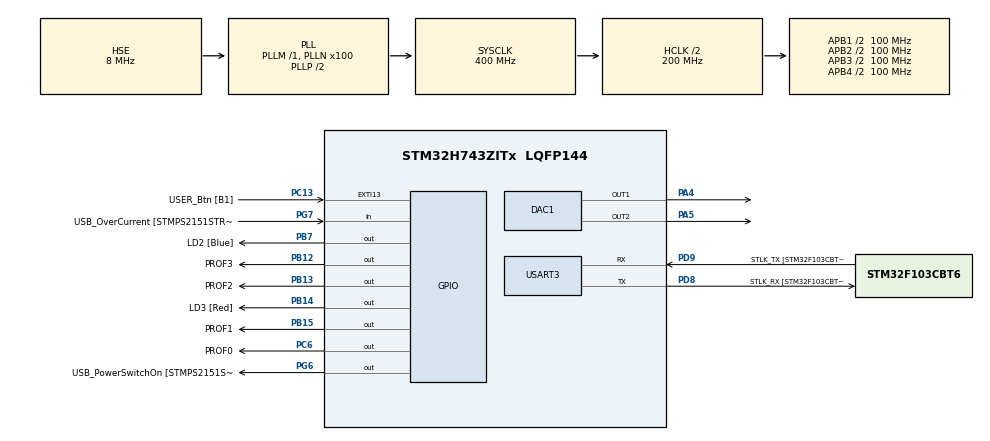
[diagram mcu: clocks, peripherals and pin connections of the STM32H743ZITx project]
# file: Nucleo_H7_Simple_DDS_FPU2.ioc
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ARM.CMSIS.5.6.0.CMSISJjCORE=true
ARM.CMSIS.5.6.0.CMSISJjDSP=Library
CORTEX_M7.CPU_ICache=Enabled
DAC1.DAC_Channel-DAC_OUT2=DAC_CHANNEL_2
DAC1.DAC_Trigger-DAC_OUT1=DAC_TRIGGER_T6_TRGO
DAC1.DAC_Trigger-DAC_OUT2=DAC_TRIGGER_T6_TRGO
Mcu.Family=STM32H7
Mcu.Name=STM32H743ZITx
Mcu.Package=LQFP144
NVIC.PriorityGroup=NVIC_PRIORITYGROUP_4
NVIC.TIM6_DAC_IRQn=true\:0\:0\:false\:false\:true\:true\:true
NVIC.USART3_IRQn=true\:0\:0\:false\:false\:true\:true\:true
PA1.GPIO_Label=RMII_REF_CLK
PA1.Signal=ETH_REF_CLK
PA10.GPIO_Label=USB_ID
PA10.Signal=USB_OTG_FS_ID
PA11.GPIO_Label=USB_DM
PA11.Signal=USB_OTG_FS_DM
PA12.GPIO_Label=USB_DP
PA12.Signal=USB_OTG_FS_DP
PA13\ (JTMS/SWDIO).Mode=Serial_Wire
PA13\ (JTMS/SWDIO).Signal=DEBUG_JTMS-SWDIO
PA14\ (JTCK/SWCLK).Mode=Serial_Wire
PA14\ (JTCK/SWCLK).Signal=DEBUG_JTCK-SWCLK
PA2.GPIO_Label=RMII_MDIO
PA2.Signal=ETH_MDIO
PA4.Signal=COMP_DAC11_group
PA5.Signal=COMP_DAC12_group
PA7.GPIO_Label=RMII_CRS_DV
PA7.Signal=ETH_CRS_DV
PA8.GPIO_Label=USB_SOF [TP1]
PA8.Signal=USB_OTG_FS_SOF
PA9.GPIO_Label=USB_VBUS
PA9.Signal=USB_OTG_FS_VBUS
PB12.GPIO_Label=PROF3
PB12.Signal=GPIO_Output
PB13.GPIO_Label=PROF2
PB13.Signal=GPIO_Output
PB14.GPIO_Label=LD3 [Red]
PB14.Signal=GPIO_Output
PB15.GPIO_Label=PROF1
PB15.Signal=GPIO_Output
PB7.GPIO_Label=LD2 [Blue]
PB7.Signal=GPIO_Output
PC1.GPIO_Label=RMII_MDC
PC1.Signal=ETH_MDC
PC13.GPIO_Label=USER_Btn [B1]
PC13.Signal=GPXTI13
PC14-OSC32_IN\ (OSC32_IN).Mode=LSE-External-Oscillator
PC14-OSC32_IN\ (OSC32_IN).Signal=RCC_OSC32_IN
PC15-OSC32_OUT\ (OSC32_OUT).Mode=LSE-External-Oscillator
PC15-OSC32_OUT\ (OSC32_OUT).Signal=RCC_OSC32_OUT
PC4.GPIO_Label=RMII_RXD0
PC4.Signal=ETH_RXD0
PC5.GPIO_Label=RMII_RXD1
PC5.Signal=ETH_RXD1
PC6.GPIO_Label=PROF0
PC6.Signal=GPIO_Output
PD8.GPIO_Label=STLK_RX [STM32F103CBT6_PA3]
PD8.Mode=Asynchronous
PD8.Signal=USART3_TX
PD9.GPIO_Label=STLK_TX [STM32F103CBT6_PA2]
PD9.Mode=Asynchronous
PD9.Signal=USART3_RX
PG11.GPIO_Label=RMII_TX_EN
PG11.Signal=ETH_TX_EN
PG13.GPIO_Label=RMII_TXD0
PG13.Signal=ETH_TXD0
PG6.GPIO_Label=USB_PowerSwitchOn [STMPS2151STR_EN]
PG6.Signal=GPIO_Output
PG7.GPIO_Label=USB_OverCurrent [STMPS2151STR_FAULT]
PG7.Signal=GPIO_Input
PH0-OSC_IN\ (PH0).GPIO_Label=MCO
PH0-OSC_IN\ (PH0).Mode=HSE-External-Clock-Source
PH0-OSC_IN\ (PH0).Signal=RCC_OSC_IN
PH1-OSC_OUT\ (PH1).Signal=RCC_OSC_OUT
ProjectManager.HeapSize=0x200
ProjectManager.StackSize=0x400
ProjectManager.TargetToolchain=STM32CubeIDE
RCC.48MHZClocksFreq_Value=24000000
RCC.ADCFreq_Value=16125000
RCC.AHBFreq_Value=216000000
RCC.APB1CLKDivider=RCC_HCLK_DIV4
RCC.APB1Freq_Value=100000000
RCC.APB1TimFreq_Value=108000000
RCC.APB2CLKDivider=RCC_HCLK_DIV2
RCC.APB2Freq_Value=100000000
RCC.APB2TimFreq_Value=216000000
RCC.APB3Freq_Value=100000000
RCC.APB4Freq_Value=100000000
RCC.CortexFreq_Value=400000000
RCC.D1PPRE=RCC_APB3_DIV2
RCC.D2PPRE1=RCC_APB1_DIV2
RCC.D2PPRE2=RCC_APB2_DIV2
RCC.D3PPRE=RCC_APB4_DIV2
RCC.DIVM1=1
RCC.DIVN1=100
RCC.DIVQ1=4
RCC.HCLKFreq_Value=200000000
RCC.HPRE=RCC_HCLK_DIV2
RCC.HSE_VALUE=8000000
RCC.HSI_VALUE=64000000
RCC.PLLFRACN=0
RCC.PLLM=25
RCC.PLLMUL=RCC_PLL_MUL9
RCC.PLLN=432
RCC.PLLQ=9
RCC.PLLSourceVirtual=RCC_PLLSOURCE_HSE
RCC.PRESCALERUSB=RCC_USBCLKSOURCE_PLL_DIV1_5
RCC.PWR_Regulator_Voltage_Scale=PWR_REGULATOR_VOLTAGE_SCALE1
RCC.SYSCLKFreq_VALUE=400000000
RCC.SYSCLKSource=RCC_SYSCLKSOURCE_PLLCLK
RCC.SYSCLKSourceVirtual=RCC_SYSCLKSOURCE_PLLCLK
RCC.USBFreq_Value=200000000
RCC.VCOOutputFreq_Value=432000000
SH.COMP_DAC11_group.0=DAC1_OUT1,DAC_OUT1
SH.COMP_DAC12_group.0=DAC1_OUT2,DAC_OUT2
TIM6.Period=199
TIM6.TIM_MasterOutputTrigger=TIM_TRGO_UPDATE
USART3.DMADisableonRxErrorParam=ADVFEATURE_DMA_DISABLEONRXERROR
USART3.OverrunDisableParam=ADVFEATURE_OVERRUN_DISABLE
USART3.VirtualMode-Asynchronous=VM_ASYNC
VP_ARM.CMSIS_VS_CMSISJjCORE_5.3.0.Mode=CMSISJjCORE
VP_ARM.CMSIS_VS_CMSISJjDSP_1.7.0.Mode=CMSISJjDSP
VP_TIM6_VS_ClockSourceINT.Mode=Enable_Timer
board=NUCLEO-H743ZI

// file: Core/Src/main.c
/* USER CODE BEGIN Header */
/**
  *
  *  A simple 2-channel DDS generator:
  *  Each time TIM6 has counted down to zero an event is generated that triggers
  *  the DAC and generates an interrupt.
  *  The interrupt service routine is used for calculating the new values of the
  *  phase registers of both channels, calculates the sines of the phase angles and
  *  stores the results in the dual DAC output register
  *
  *  @author (of non-automatically generated code:) DM1CR 2020
  *
  *
 **/

/**
  ******************************************************************************
  * @file           : main.c
  * @brief          : Main program body
  ******************************************************************************
  * @attention
  *
  * <h2><center>&copy; Copyright (c) 2020 STMicroelectronics.
  * All rights reserved.</center></h2>
  *
  * This software component is licensed by ST under BSD 3-Clause license,
  * the "License"; You may not use this file except in compliance with the
  * License. You may obtain a copy of the License at:
  *                        opensource.org/licenses/BSD-3-Clause
  *
  ******************************************************************************
  */
/* USER CODE END Header */

#include "main.h"
#include "arm_math.h"

/* USER CODE BEGIN Includes */
#include <stdio.h>
#include <stdlib.h>
#include <string.h>
#include <ctype.h>
#include <inttypes.h>
#include <math.h>
/* USER CODE END Includes */

/* USER CODE BEGIN PTD */
typedef struct {
	uint32_t phase;			// Phase Register
	uint32_t phaseInc;      // Phase Increment Register
	uint16_t amplitude;     // Output Amplitude
	uint16_t offset;        // Output Offset
	float*   wavtab;        // Pointer to signed Sine Table or other (signed) Waveform Table
} DDS_typedef;
/* USER CODE END PTD */

/* USER CODE BEGIN PD */
/*
 *  Defs for H7 peripheral clock and DAC
 */
#define APB1_CLOCK 200000000
#define DACMAX_DEFINE 65535
const uint16_t DACMAX = DACMAX_DEFINE;
/*
 * TIMER 6 is driving the DAC trigger:
 */
#define TIM6_ARR_RESETVAL_DEFINE 19999  // TIM6_ARR = Timer 6 auto-reload register
uint16_t tim6ARRVal = TIM6_ARR_RESETVAL_DEFINE;
/*
 *  DDS main parameters
 */
#define DDS_PHASEBITS_DEFINE 32
const uint8_t DDS_PHASEBITS = DDS_PHASEBITS_DEFINE;
#define DDS_PHASERES pow(2,32)            // how many phase values can be stored in dds_phase
float32_t dds_phaseperbit;          // =  1.0/pow(2,DDS_PHASEBITS_DEFINE) * 2.0 * M_PI;
#define DDS_WANTEDSAMPLEPERIOD_US 100     // desired time between samples at start of program
#define DDS_DACBITS 12                    // resolution of DAC-outputs in bits
#define DDS_AMPLITUDE_ADCSTEPS 30000u       // waveform amplitude at start of program
#define DDS_OFFSET_ADCSTEPS 32767u          // waveform offset at start of program
#define DDS_SINETABLELEN_BITS 14          // length of waveform table in bits; should have 2 bits more than DAC
/*
 *  DDS command list
 */
#define CMD_INPUT_CH1 'X'                 // command for changing to channel 1 input mode
#define CMD_INPUT_CH2 'Y'                 // command for changing to channel 2 input mode
#define CMD_INPUT_SYNC 'Z'                // command for sync'ing channel 2 to channel 1
#define CMD_INPUT_DELTA 'D'               // command for phase jump of channel 2 (phase increments)
#define CMD_INPUT_JUMP 'J'                // command for phase jump of channel 2 (degrees)
#define CMD_INPUT_DDSFREQ 'F'             // command for changing to output frequency input mode
#define CMD_INPUT_DDS_SAMPLEFREQ 'S'      // command for changing to sample frequency input mode (eq for both ch)
#define CMD_INPUT_DDS_SAMPLEPERIOD 'P'    // command for changing to sample period input mode (eq for both ch)
#define CMD_INPUT_DDS_AMPLITUDE 'A'       // command for changing to amplitude input mode
#define CMD_INPUT_DDS_OFFSET 'O'          // command for changing to offset input mode

/* USER CODE END PD */

DAC_HandleTypeDef hdac1;

TIM_HandleTypeDef htim6;

UART_HandleTypeDef huart3;

/* USER CODE BEGIN PV */
volatile DDS_typedef dds[2];
float                dds_sinetable[1<<DDS_SINETABLELEN_BITS];
volatile float       dds_samplePeriod_us;   // sample period in us

volatile uint8_t     uart_incoming_char[1];
volatile char        uart_inputString[200];
volatile uint8_t     uart_stringComplete;
volatile char        uart_command;
volatile uint8_t     uart_commandIsKnown;
volatile char        uart_ddsMode = 'X';

// simple CPU load measurement with a counter
#define CPULOADTICKS 500 // number of systicks used for load measurement
double cpuLoadNoLoadCnt; // this variable will hold the reference count value

/* USER CODE END PV */

void SystemClock_Config(void);
static void MX_GPIO_Init(void);
static void MX_USART3_UART_Init(void);
static void MX_DAC1_Init(void);
static void MX_TIM6_Init(void);
/* USER CODE BEGIN PFP */
void update_TIM6(uint16_t new_tim6_divisor);
double calc_dds_fout(double dacclock, uint32_t phaseinc, uint8_t phasebits);
uint32_t calc_phaseinc(double fout_Hz, double dacperiod_s, uint8_t phasebits);
/* USER CODE END PFP */

/* USER CODE BEGIN 0 */
void HAL_TIM_PeriodElapsedCallback(TIM_HandleTypeDef *htim)
{
 	if(htim == &htim6){
	  uint32_t dhr12ld = (uint32_t)&hdac1.Instance->DHR12LD;
	  dds[0].phase += dds[0].phaseInc;
	  dds[1].phase += dds[1].phaseInc;
	  /*
	   *  write to right aligned dual channel DAC register:
	   */

	  uint16_t dacval1 = (dds[0].amplitude * arm_sin_f32(dds[0].phase * dds_phaseperbit)) +
			             dds[0].offset;
	  uint16_t dacval2 = (dds[1].amplitude * arm_sin_f32(dds[1].phase * dds_phaseperbit)) +
			             dds[1].offset;

	  *(__IO uint32_t *)dhr12ld = (uint32_t) dacval1 + ((uint32_t)dacval2 << 16);

	  return;
  }
  /* Prevent unused argument(s) compilation warning */
  UNUSED(htim);
}

void HAL_UART_RxCpltCallback(UART_HandleTypeDef *huart)
{
	char inChar;
	if (huart == &huart3) {
		inChar = uart_incoming_char[0];
		if (inChar == '\r' ){
			inChar = '\n';    // if terminal sends return instead of newline
		}
		if (isalpha(inChar)){
		    // incoming character is a letter, so it is probably a command:
		    uart_command = inChar;
		    uart_stringComplete = 1;
		    uart_inputString[0] = '\0'; // clear string if user has entered a letter
		}
		else {
			// non-alpha char is added to the inputString:
		    strncat((char*)uart_inputString, &inChar, 1);
		    // if the incoming character is a newline, set a flag so the main loop can
		    // do something about it:
    		if ((inChar == '\n')) {
		       uart_stringComplete = 1;
    		}
    		putchar(inChar);
		}
		// not elegant, but simple: telling HAL to receive next char...
		HAL_UART_Receive_IT(huart, (uint8_t *)uart_incoming_char, 1);
		return;
	}

	UNUSED(huart);
}

// calculation of the output frequency of the DDS, given the phase increment value:
double calc_dds_fout(double dacclock, uint32_t phaseinc, uint8_t phasebits)
{
	return (dacclock * phaseinc / ((uint64_t)1 << phasebits));
}

// calculation of the phase increment value of the DDS, given the output frequency:
uint32_t calc_phaseinc(double fout_Hz, double dacperiod_s, uint8_t phasebits)
{
	return (fout_Hz * dacperiod_s * ((uint64_t)1 << phasebits) + 0.5);
}

// helper function for updating tim6 ARR value:
void update_TIM6(uint16_t new_tim6_divisor)
{
	float current_dds_samplefrequency_0 = calc_dds_fout( 1.0/dds_samplePeriod_us * 1.0e6,
            dds[0].phaseInc, DDS_PHASEBITS);
	float current_dds_samplefrequency_1 = calc_dds_fout( 1.0/dds_samplePeriod_us * 1.0e6,
            dds[1].phaseInc, DDS_PHASEBITS);
	tim6ARRVal = new_tim6_divisor-1;
	__HAL_TIM_SET_AUTORELOAD(&htim6, tim6ARRVal);  // update reload register of TIM6
	dds_samplePeriod_us = 1.0/APB1_CLOCK * (tim6ARRVal+1) * 1.0e6;
	dds[0].phaseInc = current_dds_samplefrequency_0 * dds_samplePeriod_us * 1.0e-6 * DDS_PHASERES;
	dds[1].phaseInc = current_dds_samplefrequency_1 * dds_samplePeriod_us * 1.0e-6 * DDS_PHASERES;
}

double getCPULoadCntrValue(uint32_t ticks){
    uint32_t cpuLoadLoopCntrStartValue = uwTick;  // see SysTickInterrupt!
    uint64_t cpuLoadDummyCntr;
    cpuLoadDummyCntr = 0;
    while(uwTick-cpuLoadLoopCntrStartValue < ticks) {
        cpuLoadDummyCntr++;
    }
    return cpuLoadDummyCntr;
}
/* USER CODE END 0 */

int main(void)
{

  /* Enable I-Cache---------------------------------------------------------*/
  SCB_EnableICache();

  /* MCU Configuration--------------------------------------------------------*/

  /* Reset of all peripherals, Initializes the Flash interface and the Systick. */
  HAL_Init();

  /* Configure the system clock */
  SystemClock_Config();

  /* Initialize all configured peripherals */
  MX_GPIO_Init();
  MX_USART3_UART_Init();
  MX_DAC1_Init();
  MX_TIM6_Init();
  /* USER CODE BEGIN 2 */

  setvbuf(stdout, NULL, _IONBF, 0);  // no line buffering of printf wanted
  HAL_UART_Receive_IT(&huart3, (uint8_t*)uart_incoming_char, 1);

  // initialize sine table
  int sintablen = 1 << DDS_SINETABLELEN_BITS;
  for (int i = 0; i < sintablen; i++) {
  	  dds_sinetable[i] = sin(2.0 * M_PI * i/sintablen);
  }
  dds_phaseperbit =  1.0/pow(2,DDS_PHASEBITS_DEFINE) * 2.0 * M_PI;
  printf("\r\nWavetable calculated\r\n");

  // reference measurement: number of loops before loading CPU with TIM6 interrupts
  cpuLoadNoLoadCnt = getCPULoadCntrValue(CPULOADTICKS);

  // Initializing DDS-Parameters of both channels:

  dds[0].wavtab = dds_sinetable;
  dds[0].amplitude = DDS_AMPLITUDE_ADCSTEPS;
  dds[0].offset = DDS_OFFSET_ADCSTEPS;

  dds[1].wavtab = dds_sinetable;
  dds[1].amplitude = DDS_AMPLITUDE_ADCSTEPS;
  dds[1].offset = DDS_OFFSET_ADCSTEPS;

  printf("Start:");
  dds_samplePeriod_us = 1.0/APB1_CLOCK * (tim6ARRVal+1) * 1.0e6;
  dds[0].phaseInc = calc_phaseinc(1000.0, dds_samplePeriod_us / 1.0e6, DDS_PHASEBITS);
  dds[1].phaseInc = calc_phaseinc(1000.0, dds_samplePeriod_us / 1.0e6, DDS_PHASEBITS);
  HAL_DAC_Start(&hdac1, DAC_CHANNEL_1);
  HAL_DAC_Start(&hdac1, DAC_CHANNEL_2);
  HAL_TIM_Base_Start_IT(&htim6);
  __HAL_TIM_SET_AUTORELOAD(&htim6, tim6ARRVal);

  /* USER CODE END 2 */

  /* Infinite loop */
  /* USER CODE BEGIN WHILE */
  while (1)
  {
	  if (uart_stringComplete) {
	    switch (toupper(uart_command)) {       // change to appropriate input mode if command is known
	      case CMD_INPUT_DDSFREQ:         uart_commandIsKnown = 1;
	                                      if (isdigit(uart_inputString[0])) {
											float f = atof((char*)uart_inputString);
	                                        uint32_t pinc = calc_phaseinc(f, dds_samplePeriod_us * 1.0e-6, DDS_PHASEBITS);
	                                        switch (uart_ddsMode) {
                	                                    	uint32_t prim;
	                                        				case CMD_INPUT_CH1:  dds[0].phaseInc = pinc;
	                                        				                     break;
	                                        				case CMD_INPUT_CH2:  dds[1].phaseInc = pinc;
                        				                                         break;
	                                        				case CMD_INPUT_SYNC: prim = __get_PRIMASK();
	                                                                             __disable_irq();
	                                                                             dds[0].phaseInc = pinc;
	                                        				                     dds[1].phaseInc = pinc;
	                                                                             if (!prim) {
	                                                                               __enable_irq();
	                                                                             }
   				                                                                 break;
	                                        				default:             printf("\nerr: unknown dds mode\r\n");
	                                        									 break;
	                                        }
	                                        printf("\n%f\r\n", f);
	                                      }
	                                      printf("\r\nEnter dds_freq: ");
	                                      break;
	      case CMD_INPUT_DDS_SAMPLEFREQ:  uart_commandIsKnown = 1;
	                                      if (isdigit(uart_inputString[0])) {
	                                        float f = atof((char*)uart_inputString);
	                                        update_TIM6(APB1_CLOCK / f);
	                                        printf("\n%f\r\n", 1.0/dds_samplePeriod_us * 1.0e6);
	                                      }
	                                      printf("\r\nEnter dds_sampleFreq_Hz: ");
	                                      break;
	      case CMD_INPUT_DDS_SAMPLEPERIOD:uart_commandIsKnown = 1;
	                                      if (isdigit(uart_inputString[0])) {
	                                        float p = atof((char*)uart_inputString);
	                                        update_TIM6(p * 1.0e-6 * APB1_CLOCK);
	                                        printf("\n%f\r\n", dds_samplePeriod_us);
	                                      }
	                                      printf("\r\nEnter dds_samplePeriod_us: ");
	                                      break;
	      case CMD_INPUT_DDS_AMPLITUDE:   uart_commandIsKnown = 1;
	                                      if (isdigit(uart_inputString[0])) {
	                                    	uint16_t new_amplitude = atoi((char*)uart_inputString);
	                                        switch (uart_ddsMode) {
                               				  case CMD_INPUT_CH1:  dds[0].amplitude = new_amplitude;
		                                                           break;
		                                      case CMD_INPUT_CH2:  dds[1].amplitude = new_amplitude;
	                        				                       break;
		                                      case CMD_INPUT_SYNC: dds[0].amplitude = new_amplitude;
		                                                           dds[1].amplitude = new_amplitude;
                                                                   break;
	                            			  default:             printf("\nerr: unknown dds mode\r\n");
		                                        			       break;
	                                        }
	                                        printf("\n%d\r\n", new_amplitude);
	                                      }
	                                      printf("\r\nEnter dds_amplitude_adcsteps: ");
	                                      break;
	      case CMD_INPUT_DDS_OFFSET:      uart_commandIsKnown = 1;
	                                      if (isdigit(uart_inputString[0])) {
	                                    	uint16_t new_offset = atoi((char*)uart_inputString);
     	                                    switch (uart_ddsMode) {
	                               			  case CMD_INPUT_CH1:  dds[0].offset = new_offset;
			                                                       break;
			                                  case CMD_INPUT_CH2:  dds[1].offset = new_offset;
		                        		   	                       break;
			                                  case CMD_INPUT_SYNC: dds[0].offset = new_offset;
			                                                       dds[1].offset = new_offset;
	                                                               break;
		                            	      default:             printf("\nerr: unknown dds mode\r\n");
			                                        			   break;
		                                    }
	                                        printf("\n%d\r\n", new_offset);
	                                      }
	                                      printf("\r\nEnter dds_offset_adcsteps: ");
	                                      break;
	      case CMD_INPUT_CH1:             uart_commandIsKnown = 1;
                                          uart_ddsMode = CMD_INPUT_CH1;
	                                      printf("\r\nChannel 0 selected:\r\n");
	                                      break;
	      case CMD_INPUT_CH2:             uart_commandIsKnown = 1;
	                                      uart_ddsMode = CMD_INPUT_CH2;
	                                      printf("\r\nChannel 1 selected:\r\n");
	                                      break;
	      case CMD_INPUT_SYNC:            uart_commandIsKnown = 1;
                                          uart_ddsMode = CMD_INPUT_SYNC;
                                          uint32_t prim = __get_PRIMASK();
                                          __disable_irq();
                                          dds[1].phaseInc = dds[0].phaseInc;
                                          dds[1].phase = dds[0].phase;
                                          if (!prim) {
                                            __enable_irq();
                                          }
                                          printf("\r\nSync mode selected:\r\n");
	                                      break;
	      case CMD_INPUT_DELTA:           uart_commandIsKnown = 1;
                                          if (isdigit(uart_inputString[0])) {
	                                        uint32_t phasejump = atol((char*)uart_inputString);
                                            uint32_t prim = __get_PRIMASK();
	                                        __disable_irq();
	                                        dds[1].phase += phasejump;
                                            if (!prim) {
                                              __enable_irq();
                                            }
                                            printf("\n%"PRIu32"\r\n", phasejump);
                                          }
	                                      printf("\r\nEnter pos. phasejump delta value N: ");
	                                      break;
	      case CMD_INPUT_JUMP:           uart_commandIsKnown = 1;
                                          if (isdigit(uart_inputString[0])) {
	                                        float jumpDegrees = atof((char*)uart_inputString);
	                                        //if (jumpDegrees < 0.0){
	                                        //	jumpDegrees = 360.0 + jumpDegrees;
	                                        //}
	                                        uint32_t phasejump = jumpDegrees/360.0*DDS_PHASERES;
                                            uint32_t prim = __get_PRIMASK();
	                                        __disable_irq();
	                                        dds[1].phase += phasejump;
                                            if (!prim) {
                                              __enable_irq();
                                            }
                                            printf("\n%f\r\n", jumpDegrees);
                                          }
	                                      printf("\r\nEnter phasejump in degrees: ");
	                                      break;
	      default:                        uart_commandIsKnown = 0;
	    }
	    // clear the string:
	    uart_inputString[0] = '\0';
	    uart_stringComplete = 0;
	  }

	  if( !uart_commandIsKnown ){  // print some interesting numbers
	    for (int i=0; i<2; i++) {
	    	if (i==1) {
	    		printf("  ");
	    	}
	    	printf("f_out[%d] = %f Hz, ", i, calc_dds_fout(1.0e6/dds_samplePeriod_us,dds[i].phaseInc, DDS_PHASEBITS));
			printf("f_sample = %f Hz, ", 1.0e6/dds_samplePeriod_us);
			printf("phasereg[%d] = %"PRIu32", ", i, dds[i].phase);
			printf("phaseinc[%d] = %"PRIu32", ", i, dds[i].phaseInc);
			printf("ampl[%d] = %d, ", i, dds[i].amplitude);
			printf("offs[%d] = %d", i, dds[i].offset);
	    	if (i==0) {
	    		printf("\r\n");
	    	}
	    }
	    printf(", CPU load = %f%%\r\n",
	    		100.0*(cpuLoadNoLoadCnt-getCPULoadCntrValue(CPULOADTICKS))/cpuLoadNoLoadCnt );
	  }
    /* USER CODE END WHILE */

  }
}

void SystemClock_Config(void)
{
  RCC_OscInitTypeDef RCC_OscInitStruct = {0};
  RCC_ClkInitTypeDef RCC_ClkInitStruct = {0};
  RCC_PeriphCLKInitTypeDef PeriphClkInitStruct = {0};

  /** Supply configuration update enable
  */
  HAL_PWREx_ConfigSupply(PWR_LDO_SUPPLY);
  /** Configure the main internal regulator output voltage
  */
  __HAL_PWR_VOLTAGESCALING_CONFIG(PWR_REGULATOR_VOLTAGE_SCALE1);

  while(!__HAL_PWR_GET_FLAG(PWR_FLAG_VOSRDY)) {}
  /** Initializes the CPU, AHB and APB busses clocks
  */
  RCC_OscInitStruct.OscillatorType = RCC_OSCILLATORTYPE_HSE;
  RCC_OscInitStruct.HSEState = RCC_HSE_BYPASS;
  RCC_OscInitStruct.PLL.PLLState = RCC_PLL_ON;
  RCC_OscInitStruct.PLL.PLLSource = RCC_PLLSOURCE_HSE;
  RCC_OscInitStruct.PLL.PLLM = 1;
  RCC_OscInitStruct.PLL.PLLN = 100;
  RCC_OscInitStruct.PLL.PLLP = 2;
  RCC_OscInitStruct.PLL.PLLQ = 4;
  RCC_OscInitStruct.PLL.PLLR = 2;
  RCC_OscInitStruct.PLL.PLLRGE = RCC_PLL1VCIRANGE_3;
  RCC_OscInitStruct.PLL.PLLVCOSEL = RCC_PLL1VCOWIDE;
  RCC_OscInitStruct.PLL.PLLFRACN = 0;
  if (HAL_RCC_OscConfig(&RCC_OscInitStruct) != HAL_OK)
  {
    Error_Handler();
  }
  /** Initializes the CPU, AHB and APB busses clocks
  */
  RCC_ClkInitStruct.ClockType = RCC_CLOCKTYPE_HCLK|RCC_CLOCKTYPE_SYSCLK
                              |RCC_CLOCKTYPE_PCLK1|RCC_CLOCKTYPE_PCLK2
                              |RCC_CLOCKTYPE_D3PCLK1|RCC_CLOCKTYPE_D1PCLK1;
  RCC_ClkInitStruct.SYSCLKSource = RCC_SYSCLKSOURCE_PLLCLK;
  RCC_ClkInitStruct.SYSCLKDivider = RCC_SYSCLK_DIV1;
  RCC_ClkInitStruct.AHBCLKDivider = RCC_HCLK_DIV2;
  RCC_ClkInitStruct.APB3CLKDivider = RCC_APB3_DIV2;
  RCC_ClkInitStruct.APB1CLKDivider = RCC_APB1_DIV2;
  RCC_ClkInitStruct.APB2CLKDivider = RCC_APB2_DIV2;
  RCC_ClkInitStruct.APB4CLKDivider = RCC_APB4_DIV2;

  if (HAL_RCC_ClockConfig(&RCC_ClkInitStruct, FLASH_LATENCY_2) != HAL_OK)
  {
    Error_Handler();
  }
  PeriphClkInitStruct.PeriphClockSelection = RCC_PERIPHCLK_USART3;
  PeriphClkInitStruct.Usart234578ClockSelection = RCC_USART234578CLKSOURCE_D2PCLK1;
  if (HAL_RCCEx_PeriphCLKConfig(&PeriphClkInitStruct) != HAL_OK)
  {
    Error_Handler();
  }
}

static void MX_DAC1_Init(void)
{

  DAC_ChannelConfTypeDef sConfig = {0};

  /** DAC Initialization
  */
  hdac1.Instance = DAC1;
  if (HAL_DAC_Init(&hdac1) != HAL_OK)
  {
    Error_Handler();
  }
  /** DAC channel OUT1 config
  */
  sConfig.DAC_SampleAndHold = DAC_SAMPLEANDHOLD_DISABLE;
  sConfig.DAC_Trigger = DAC_TRIGGER_T6_TRGO;
  sConfig.DAC_OutputBuffer = DAC_OUTPUTBUFFER_ENABLE;
  sConfig.DAC_ConnectOnChipPeripheral = DAC_CHIPCONNECT_DISABLE;
  sConfig.DAC_UserTrimming = DAC_TRIMMING_FACTORY;
  if (HAL_DAC_ConfigChannel(&hdac1, &sConfig, DAC_CHANNEL_1) != HAL_OK)
  {
    Error_Handler();
  }
  /** DAC channel OUT2 config
  */
  sConfig.DAC_ConnectOnChipPeripheral = DAC_CHIPCONNECT_DISABLE;
  if (HAL_DAC_ConfigChannel(&hdac1, &sConfig, DAC_CHANNEL_2) != HAL_OK)
  {
    Error_Handler();
  }

}

static void MX_TIM6_Init(void)
{

  TIM_MasterConfigTypeDef sMasterConfig = {0};

  htim6.Instance = TIM6;
  htim6.Init.Prescaler = 0;
  htim6.Init.CounterMode = TIM_COUNTERMODE_UP;
  htim6.Init.Period = 199;
  htim6.Init.AutoReloadPreload = TIM_AUTORELOAD_PRELOAD_DISABLE;
  if (HAL_TIM_Base_Init(&htim6) != HAL_OK)
  {
    Error_Handler();
  }
  sMasterConfig.MasterOutputTrigger = TIM_TRGO_UPDATE;
  sMasterConfig.MasterSlaveMode = TIM_MASTERSLAVEMODE_DISABLE;
  if (HAL_TIMEx_MasterConfigSynchronization(&htim6, &sMasterConfig) != HAL_OK)
  {
    Error_Handler();
  }

}

static void MX_USART3_UART_Init(void)
{

  huart3.Instance = USART3;
  huart3.Init.BaudRate = 115200;
  huart3.Init.WordLength = UART_WORDLENGTH_8B;
  huart3.Init.StopBits = UART_STOPBITS_1;
  huart3.Init.Parity = UART_PARITY_NONE;
  huart3.Init.Mode = UART_MODE_TX_RX;
  huart3.Init.HwFlowCtl = UART_HWCONTROL_NONE;
  huart3.Init.OverSampling = UART_OVERSAMPLING_16;
  huart3.Init.OneBitSampling = UART_ONE_BIT_SAMPLE_DISABLE;
  huart3.Init.ClockPrescaler = UART_PRESCALER_DIV1;
  huart3.AdvancedInit.AdvFeatureInit = UART_ADVFEATURE_RXOVERRUNDISABLE_INIT|UART_ADVFEATURE_DMADISABLEONERROR_INIT;
  huart3.AdvancedInit.OverrunDisable = UART_ADVFEATURE_OVERRUN_DISABLE;
  huart3.AdvancedInit.DMADisableonRxError = UART_ADVFEATURE_DMA_DISABLEONRXERROR;
  if (HAL_UART_Init(&huart3) != HAL_OK)
  {
    Error_Handler();
  }
  if (HAL_UARTEx_SetTxFifoThreshold(&huart3, UART_TXFIFO_THRESHOLD_1_8) != HAL_OK)
  {
    Error_Handler();
  }
  if (HAL_UARTEx_SetRxFifoThreshold(&huart3, UART_RXFIFO_THRESHOLD_1_8) != HAL_OK)
  {
    Error_Handler();
  }
  if (HAL_UARTEx_DisableFifoMode(&huart3) != HAL_OK)
  {
    Error_Handler();
  }

}

static void MX_GPIO_Init(void)
{
  GPIO_InitTypeDef GPIO_InitStruct = {0};

  /* GPIO Ports Clock Enable */
  __HAL_RCC_GPIOC_CLK_ENABLE();
  __HAL_RCC_GPIOH_CLK_ENABLE();
  __HAL_RCC_GPIOA_CLK_ENABLE();
  __HAL_RCC_GPIOB_CLK_ENABLE();
  __HAL_RCC_GPIOD_CLK_ENABLE();
  __HAL_RCC_GPIOG_CLK_ENABLE();

  /*Configure GPIO pin Output Level */
  HAL_GPIO_WritePin(GPIOB, PROF3_Pin|PROF2_Pin|LD3_Pin|PROF1_Pin
                          |LD2_Pin, GPIO_PIN_RESET);

  /*Configure GPIO pin Output Level */
  HAL_GPIO_WritePin(USB_PowerSwitchOn_GPIO_Port, USB_PowerSwitchOn_Pin, GPIO_PIN_RESET);

  /*Configure GPIO pin Output Level */
  HAL_GPIO_WritePin(PROF0_GPIO_Port, PROF0_Pin, GPIO_PIN_RESET);

  /*Configure GPIO pin : USER_Btn_Pin */
  GPIO_InitStruct.Pin = USER_Btn_Pin;
  GPIO_InitStruct.Mode = GPIO_MODE_IT_RISING;
  GPIO_InitStruct.Pull = GPIO_NOPULL;
  HAL_GPIO_Init(USER_Btn_GPIO_Port, &GPIO_InitStruct);

  /*Configure GPIO pins : RMII_MDC_Pin RMII_RXD0_Pin RMII_RXD1_Pin */
  GPIO_InitStruct.Pin = RMII_MDC_Pin|RMII_RXD0_Pin|RMII_RXD1_Pin;
  GPIO_InitStruct.Mode = GPIO_MODE_AF_PP;
  GPIO_InitStruct.Pull = GPIO_NOPULL;
  GPIO_InitStruct.Speed = GPIO_SPEED_FREQ_LOW;
  GPIO_InitStruct.Alternate = GPIO_AF11_ETH;
  HAL_GPIO_Init(GPIOC, &GPIO_InitStruct);

  /*Configure GPIO pins : RMII_REF_CLK_Pin RMII_MDIO_Pin RMII_CRS_DV_Pin */
  GPIO_InitStruct.Pin = RMII_REF_CLK_Pin|RMII_MDIO_Pin|RMII_CRS_DV_Pin;
  GPIO_InitStruct.Mode = GPIO_MODE_AF_PP;
  GPIO_InitStruct.Pull = GPIO_NOPULL;
  GPIO_InitStruct.Speed = GPIO_SPEED_FREQ_LOW;
  GPIO_InitStruct.Alternate = GPIO_AF11_ETH;
  HAL_GPIO_Init(GPIOA, &GPIO_InitStruct);

  /*Configure GPIO pins : PROF3_Pin PROF2_Pin LD3_Pin PROF1_Pin
                           LD2_Pin */
  GPIO_InitStruct.Pin = PROF3_Pin|PROF2_Pin|LD3_Pin|PROF1_Pin
                          |LD2_Pin;
  GPIO_InitStruct.Mode = GPIO_MODE_OUTPUT_PP;
  GPIO_InitStruct.Pull = GPIO_NOPULL;
  GPIO_InitStruct.Speed = GPIO_SPEED_FREQ_LOW;
  HAL_GPIO_Init(GPIOB, &GPIO_InitStruct);

  /*Configure GPIO pin : USB_PowerSwitchOn_Pin */
  GPIO_InitStruct.Pin = USB_PowerSwitchOn_Pin;
  GPIO_InitStruct.Mode = GPIO_MODE_OUTPUT_PP;
  GPIO_InitStruct.Pull = GPIO_NOPULL;
  GPIO_InitStruct.Speed = GPIO_SPEED_FREQ_LOW;
  HAL_GPIO_Init(USB_PowerSwitchOn_GPIO_Port, &GPIO_InitStruct);

  /*Configure GPIO pin : USB_OverCurrent_Pin */
  GPIO_InitStruct.Pin = USB_OverCurrent_Pin;
  GPIO_InitStruct.Mode = GPIO_MODE_INPUT;
  GPIO_InitStruct.Pull = GPIO_NOPULL;
  HAL_GPIO_Init(USB_OverCurrent_GPIO_Port, &GPIO_InitStruct);

  /*Configure GPIO pin : PROF0_Pin */
  GPIO_InitStruct.Pin = PROF0_Pin;
  GPIO_InitStruct.Mode = GPIO_MODE_OUTPUT_PP;
  GPIO_InitStruct.Pull = GPIO_NOPULL;
  GPIO_InitStruct.Speed = GPIO_SPEED_FREQ_LOW;
  HAL_GPIO_Init(PROF0_GPIO_Port, &GPIO_InitStruct);

  /*Configure GPIO pins : USB_SOF_Pin USB_ID_Pin USB_DM_Pin USB_DP_Pin */
  GPIO_InitStruct.Pin = USB_SOF_Pin|USB_ID_Pin|USB_DM_Pin|USB_DP_Pin;
  GPIO_InitStruct.Mode = GPIO_MODE_AF_PP;
  GPIO_InitStruct.Pull = GPIO_NOPULL;
  GPIO_InitStruct.Speed = GPIO_SPEED_FREQ_LOW;
  GPIO_InitStruct.Alternate = GPIO_AF10_OTG1_FS;
  HAL_GPIO_Init(GPIOA, &GPIO_InitStruct);

  /*Configure GPIO pins : RMII_TX_EN_Pin RMII_TXD0_Pin */
  GPIO_InitStruct.Pin = RMII_TX_EN_Pin|RMII_TXD0_Pin;
  GPIO_InitStruct.Mode = GPIO_MODE_AF_PP;
  GPIO_InitStruct.Pull = GPIO_NOPULL;
  GPIO_InitStruct.Speed = GPIO_SPEED_FREQ_LOW;
  GPIO_InitStruct.Alternate = GPIO_AF11_ETH;
  HAL_GPIO_Init(GPIOG, &GPIO_InitStruct);

}

/* USER CODE BEGIN 4 */
/*
 *   enable printf for console output
 */

// Redirect standard output to the serial port
int _write(int file, char *ptr, int len)
{
    for (int i=0; i<len; i++)
    {
        while(!(USART3->ISR & USART_ISR_TXE_TXFNF)); // wait till transmit data reg empty
        USART3->TDR = *ptr++;
    }
    return len;
}
/* USER CODE END 4 */

void Error_Handler(void)
{
}

/************************ (C) COPYRIGHT STMicroelectronics *****END OF FILE****/
